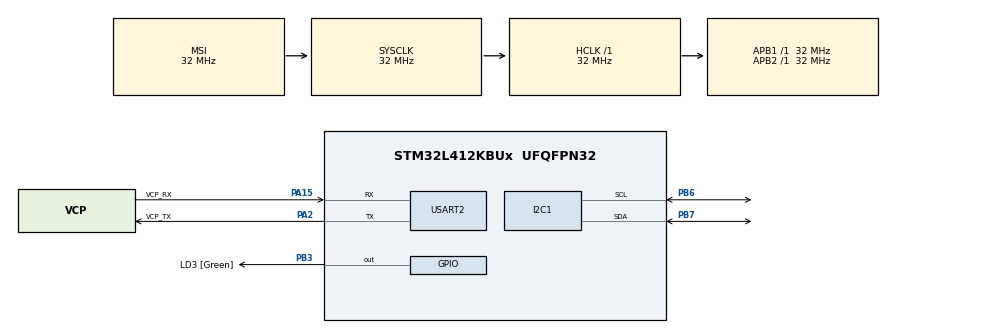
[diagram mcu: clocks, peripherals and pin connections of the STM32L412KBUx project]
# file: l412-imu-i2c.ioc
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I2C1.Timing=0x00707CBB
Mcu.Family=STM32L4
Mcu.Name=STM32L412KBUx
Mcu.Package=UFQFPN32
NVIC.PriorityGroup=NVIC_PRIORITYGROUP_4
PA0-CK_IN.Mode=HSE-External-Clock-Source-for-LittleOrca
PA0-CK_IN.Signal=RCC_CK_IN
PA13\ (JTMS/SWDIO).GPIO_Label=SWDIO
PA13\ (JTMS/SWDIO).Mode=Serial_Wire
PA13\ (JTMS/SWDIO).Signal=SYS_JTMS-SWDIO
PA14\ (JTCK/SWCLK).GPIO_Label=SWCLK
PA14\ (JTCK/SWCLK).Mode=Serial_Wire
PA14\ (JTCK/SWCLK).Signal=SYS_JTCK-SWCLK
PA15\ (JTDI).GPIO_Label=VCP_RX
PA15\ (JTDI).Mode=Asynchronous
PA15\ (JTDI).Signal=USART2_RX
PA2.GPIO_Label=VCP_TX
PA2.Mode=Asynchronous
PA2.Signal=USART2_TX
PB3\ (JTDO/TRACESWO).GPIO_Label=LD3 [Green]
PB3\ (JTDO/TRACESWO).Signal=GPIO_Output
PB6.Mode=I2C
PB6.Signal=I2C1_SCL
PB7.Mode=I2C
PB7.Signal=I2C1_SDA
PC14-OSC32_IN\ (PC14).Mode=LSE-External-Oscillator
PC14-OSC32_IN\ (PC14).Signal=RCC_OSC32_IN
PC15-OSC32_OUT\ (PC15).Mode=LSE-External-Oscillator
PC15-OSC32_OUT\ (PC15).Signal=RCC_OSC32_OUT
ProjectManager.HeapSize=0x200
ProjectManager.StackSize=0x400
ProjectManager.TargetToolchain=STM32CubeIDE
RCC.ADCFreq_Value=32000000
RCC.AHBFreq_Value=32000000
RCC.APB1Freq_Value=32000000
RCC.APB1TimFreq_Value=32000000
RCC.APB2Freq_Value=32000000
RCC.APB2TimFreq_Value=32000000
RCC.CortexFreq_Value=32000000
RCC.FLatency=FLASH_LATENCY_1
RCC.HCLKFreq_Value=32000000
RCC.HSE_VALUE=8000000
RCC.HSI48_VALUE=48000000
RCC.HSICalibrationValue=16
RCC.HSI_VALUE=16000000
RCC.LSE_Drive_Capability=RCC_LSEDRIVE_LOW
RCC.MSIClockRange=RCC_MSIRANGE_10
RCC.MSI_VALUE=32000000
RCC.SYSCLKFreq_VALUE=32000000
RCC.USBFreq_Value=32000000
RCC.VCOOutputFreq_Value=256000000
USART2.VirtualMode-Asynchronous=VM_ASYNC
board=NUCLEO-L412KB

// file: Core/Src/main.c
/* USER CODE BEGIN Header */
/**
  ******************************************************************************
  * @file           : main.c
  * @brief          : Main program body
  ******************************************************************************
  * @attention
  *
  * <h2><center>&copy; Copyright (c) 2020 STMicroelectronics.
  * All rights reserved.</center></h2>
  *
  * This software component is licensed by ST under BSD 3-Clause license,
  * the "License"; You may not use this file except in compliance with the
  * License. You may obtain a copy of the License at:
  *                        opensource.org/licenses/BSD-3-Clause
  *
  ******************************************************************************
  */
/* USER CODE END Header */

#include "main.h"

/* USER CODE BEGIN Includes */
#include <stdint.h>

/* USER CODE END Includes */

I2C_HandleTypeDef hi2c1;

UART_HandleTypeDef huart2;

void SystemClock_Config(void);
static void MX_GPIO_Init(void);
static void MX_USART2_UART_Init(void);
static void MX_I2C1_Init(void);

int main(void)
{

  /* MCU Configuration--------------------------------------------------------*/

  /* Reset of all peripherals, Initializes the Flash interface and the Systick. */
  HAL_Init();

  /* Configure the system clock */
  SystemClock_Config();

  /* Initialize all configured peripherals */
  MX_GPIO_Init();
  MX_USART2_UART_Init();
  MX_I2C1_Init();

  /* Infinite loop */
  /* USER CODE BEGIN WHILE */
  uint16_t address = 0x77 << 1;
  uint8_t id_register = 0xd0;
  uint8_t pressure_reg = 0xf7;
  uint8_t power_mode = 0b11;
  uint8_t mode_reg = 0xf4;
  uint8_t mode_data[2] = {mode_reg, power_mode};
  uint8_t new_mode;
  HAL_StatusTypeDef x = HAL_I2C_IsDeviceReady(&hi2c1, address, 2, 10000);

  /* set mode */
  HAL_I2C_Master_Transmit(&hi2c1, address, mode_data, 2, 10000);
//  HAL_I2C_Master_Transmit(&hi2c1, address, &mode_reg, 1, 10000);
//  HAL_I2C_Master_Transmit(&hi2c1, address, &power_mode, 1, 10000);
  HAL_Delay(100);
  HAL_I2C_Master_Transmit(&hi2c1, address, &mode_reg, 1, 10000);
  HAL_I2C_Master_Receive(&hi2c1, address, &new_mode, 1, UINT32_MAX);

  HAL_I2C_Master_Transmit(&hi2c1, address, &pressure_reg, 1, 10000);
  uint8_t received_data[3];
  HAL_I2C_Master_Receive(&hi2c1, address, received_data, 3, UINT32_MAX);
  while (1)
  {
    /* USER CODE END WHILE */

  }
}

void SystemClock_Config(void)
{
  RCC_OscInitTypeDef RCC_OscInitStruct = {0};
  RCC_ClkInitTypeDef RCC_ClkInitStruct = {0};
  RCC_PeriphCLKInitTypeDef PeriphClkInit = {0};

  /** Configure LSE Drive Capability
  */
  HAL_PWR_EnableBkUpAccess();
  __HAL_RCC_LSEDRIVE_CONFIG(RCC_LSEDRIVE_LOW);
  /** Configure the main internal regulator output voltage
  */
  if (HAL_PWREx_ControlVoltageScaling(PWR_REGULATOR_VOLTAGE_SCALE1) != HAL_OK)
  {
    Error_Handler();
  }
  /** Initializes the CPU, AHB and APB busses clocks
  */
  RCC_OscInitStruct.OscillatorType = RCC_OSCILLATORTYPE_LSE|RCC_OSCILLATORTYPE_MSI;
  RCC_OscInitStruct.LSEState = RCC_LSE_ON;
  RCC_OscInitStruct.MSIState = RCC_MSI_ON;
  RCC_OscInitStruct.MSICalibrationValue = 0;
  RCC_OscInitStruct.MSIClockRange = RCC_MSIRANGE_10;
  RCC_OscInitStruct.PLL.PLLState = RCC_PLL_NONE;
  if (HAL_RCC_OscConfig(&RCC_OscInitStruct) != HAL_OK)
  {
    Error_Handler();
  }
  /** Initializes the CPU, AHB and APB busses clocks
  */
  RCC_ClkInitStruct.ClockType = RCC_CLOCKTYPE_HCLK|RCC_CLOCKTYPE_SYSCLK
                              |RCC_CLOCKTYPE_PCLK1|RCC_CLOCKTYPE_PCLK2;
  RCC_ClkInitStruct.SYSCLKSource = RCC_SYSCLKSOURCE_MSI;
  RCC_ClkInitStruct.AHBCLKDivider = RCC_SYSCLK_DIV1;
  RCC_ClkInitStruct.APB1CLKDivider = RCC_HCLK_DIV1;
  RCC_ClkInitStruct.APB2CLKDivider = RCC_HCLK_DIV1;

  if (HAL_RCC_ClockConfig(&RCC_ClkInitStruct, FLASH_LATENCY_1) != HAL_OK)
  {
    Error_Handler();
  }
  PeriphClkInit.PeriphClockSelection = RCC_PERIPHCLK_USART2|RCC_PERIPHCLK_I2C1;
  PeriphClkInit.Usart2ClockSelection = RCC_USART2CLKSOURCE_PCLK1;
  PeriphClkInit.I2c1ClockSelection = RCC_I2C1CLKSOURCE_PCLK1;
  if (HAL_RCCEx_PeriphCLKConfig(&PeriphClkInit) != HAL_OK)
  {
    Error_Handler();
  }
  /** Enable MSI Auto calibration
  */
  HAL_RCCEx_EnableMSIPLLMode();
}

static void MX_I2C1_Init(void)
{

  hi2c1.Instance = I2C1;
  hi2c1.Init.Timing = 0x00707CBB;
  hi2c1.Init.OwnAddress1 = 0;
  hi2c1.Init.AddressingMode = I2C_ADDRESSINGMODE_7BIT;
  hi2c1.Init.DualAddressMode = I2C_DUALADDRESS_DISABLE;
  hi2c1.Init.OwnAddress2 = 0;
  hi2c1.Init.OwnAddress2Masks = I2C_OA2_NOMASK;
  hi2c1.Init.GeneralCallMode = I2C_GENERALCALL_DISABLE;
  hi2c1.Init.NoStretchMode = I2C_NOSTRETCH_DISABLE;
  if (HAL_I2C_Init(&hi2c1) != HAL_OK)
  {
    Error_Handler();
  }
  /** Configure Analogue filter
  */
  if (HAL_I2CEx_ConfigAnalogFilter(&hi2c1, I2C_ANALOGFILTER_ENABLE) != HAL_OK)
  {
    Error_Handler();
  }
  /** Configure Digital filter
  */
  if (HAL_I2CEx_ConfigDigitalFilter(&hi2c1, 0) != HAL_OK)
  {
    Error_Handler();
  }

}

static void MX_USART2_UART_Init(void)
{

  huart2.Instance = USART2;
  huart2.Init.BaudRate = 115200;
  huart2.Init.WordLength = UART_WORDLENGTH_8B;
  huart2.Init.StopBits = UART_STOPBITS_1;
  huart2.Init.Parity = UART_PARITY_NONE;
  huart2.Init.Mode = UART_MODE_TX_RX;
  huart2.Init.HwFlowCtl = UART_HWCONTROL_NONE;
  huart2.Init.OverSampling = UART_OVERSAMPLING_16;
  huart2.Init.OneBitSampling = UART_ONE_BIT_SAMPLE_DISABLE;
  huart2.AdvancedInit.AdvFeatureInit = UART_ADVFEATURE_NO_INIT;
  if (HAL_UART_Init(&huart2) != HAL_OK)
  {
    Error_Handler();
  }

}

static void MX_GPIO_Init(void)
{
  GPIO_InitTypeDef GPIO_InitStruct = {0};

  /* GPIO Ports Clock Enable */
  __HAL_RCC_GPIOC_CLK_ENABLE();
  __HAL_RCC_GPIOA_CLK_ENABLE();
  __HAL_RCC_GPIOB_CLK_ENABLE();

  /*Configure GPIO pin Output Level */
  HAL_GPIO_WritePin(LD3_GPIO_Port, LD3_Pin, GPIO_PIN_RESET);

  /*Configure GPIO pin : LD3_Pin */
  GPIO_InitStruct.Pin = LD3_Pin;
  GPIO_InitStruct.Mode = GPIO_MODE_OUTPUT_PP;
  GPIO_InitStruct.Pull = GPIO_NOPULL;
  GPIO_InitStruct.Speed = GPIO_SPEED_FREQ_LOW;
  HAL_GPIO_Init(LD3_GPIO_Port, &GPIO_InitStruct);

}

void Error_Handler(void)
{
}

/************************ (C) COPYRIGHT STMicroelectronics *****END OF FILE****/
